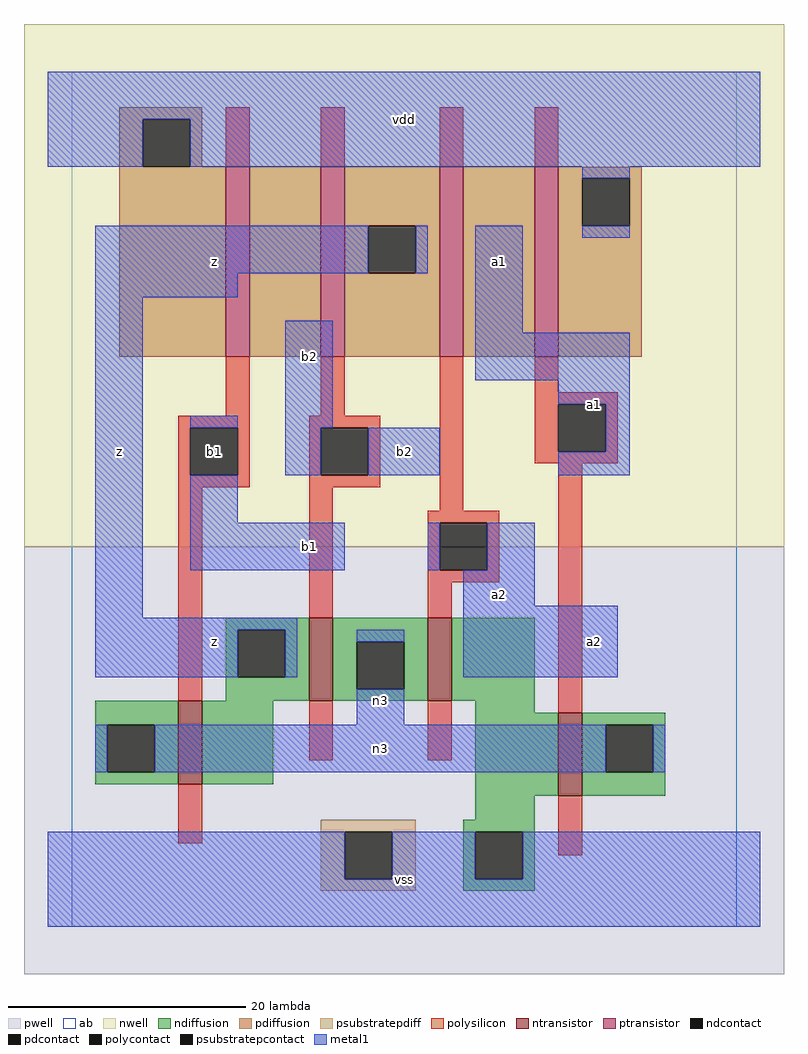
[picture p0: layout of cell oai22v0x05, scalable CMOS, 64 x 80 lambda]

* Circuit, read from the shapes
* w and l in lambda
.subckt oai22v0x05 a1 a2 b1 b2 n3 vdd vss z
M1 z b1 n3 vss nfet w=7 l=2
M2 n3 b2 z vss nfet w=7 l=2
M3 vss a2 n3 vss nfet w=7 l=2
M4 n3 a1 vss vss nfet w=7 l=2
M5 n1 b1 vdd n2 pfet w=16 l=2
M6 z b2 n1 n2 pfet w=16 l=2
M7 n4 a2 z n2 pfet w=16 l=2
M8 vdd a1 n4 n2 pfet w=16 l=2
.ends

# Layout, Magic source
magic
tech scmos
<< ab >>
rect 0 0 56 72
<< pwell >>
rect -4 -4 60 32
<< nwell >>
rect -4 32 60 76
<< polysilicon >>
rect 13 64 15 69
rect 21 64 23 69
rect 31 64 33 69
rect 39 64 41 69
rect 13 43 15 48
rect 21 43 23 48
rect 9 42 15 43
rect 9 38 10 42
rect 14 38 15 42
rect 9 37 15 38
rect 20 42 26 43
rect 20 38 21 42
rect 25 38 26 42
rect 20 37 26 38
rect 9 19 11 37
rect 20 26 22 37
rect 31 35 33 48
rect 39 45 41 48
rect 39 44 46 45
rect 39 40 41 44
rect 45 40 46 44
rect 39 39 46 40
rect 30 34 36 35
rect 30 30 31 34
rect 35 30 36 34
rect 30 29 36 30
rect 30 26 32 29
rect 20 14 22 19
rect 30 14 32 19
rect 41 18 43 39
rect 9 7 11 12
rect 41 6 43 11
<< ndiffusion >>
rect 13 25 20 26
rect 13 21 14 25
rect 18 21 20 25
rect 13 19 20 21
rect 22 24 30 26
rect 22 20 24 24
rect 28 20 30 24
rect 22 19 30 20
rect 32 19 39 26
rect 2 17 9 19
rect 2 13 3 17
rect 7 13 9 17
rect 2 12 9 13
rect 11 12 17 19
rect 34 18 39 19
rect 34 11 41 18
rect 43 17 50 18
rect 43 13 45 17
rect 49 13 50 17
rect 43 11 50 13
rect 34 9 39 11
rect 33 8 39 9
rect 33 4 34 8
rect 38 4 39 8
rect 33 3 39 4
<< pdiffusion >>
rect 4 68 11 69
rect 4 64 6 68
rect 10 64 11 68
rect 4 48 13 64
rect 15 48 21 64
rect 23 59 31 64
rect 23 55 25 59
rect 29 55 31 59
rect 23 48 31 55
rect 33 48 39 64
rect 41 63 48 64
rect 41 59 43 63
rect 47 59 48 63
rect 41 48 48 59
<< metal1 >>
rect -2 68 58 72
rect -2 64 6 68
rect 10 64 58 68
rect 43 63 47 64
rect 2 55 25 59
rect 29 55 30 59
rect 2 53 14 55
rect 2 26 6 53
rect 10 42 14 43
rect 18 42 22 51
rect 34 50 38 59
rect 43 58 47 59
rect 34 46 47 50
rect 41 44 47 46
rect 18 38 21 42
rect 25 38 31 42
rect 45 40 47 44
rect 41 38 47 40
rect 10 34 14 38
rect 10 30 23 34
rect 30 30 31 34
rect 35 30 39 34
rect 33 27 39 30
rect 2 25 19 26
rect 2 21 14 25
rect 18 21 19 25
rect 24 24 28 25
rect 33 21 46 27
rect 24 17 28 20
rect 2 13 3 17
rect 7 13 45 17
rect 49 13 50 17
rect -2 4 23 8
rect 27 4 34 8
rect 38 4 58 8
rect -2 0 58 4
<< ntransistor >>
rect 20 19 22 26
rect 30 19 32 26
rect 9 12 11 19
rect 41 11 43 18
<< ptransistor >>
rect 13 48 15 64
rect 21 48 23 64
rect 31 48 33 64
rect 39 48 41 64
<< polycontact >>
rect 10 38 14 42
rect 21 38 25 42
rect 41 40 45 44
rect 31 30 35 34
<< ndcontact >>
rect 14 21 18 25
rect 24 20 28 24
rect 3 13 7 17
rect 45 13 49 17
rect 34 4 38 8
<< pdcontact >>
rect 6 64 10 68
rect 25 55 29 59
rect 43 59 47 63
<< psubstratepcontact >>
rect 23 4 27 8
<< psubstratepdiff >>
rect 21 8 29 9
rect 21 4 23 8
rect 27 4 29 8
rect 21 3 29 4
<< labels >>
rlabel metal1 4 40 4 40 6 z
rlabel metal1 12 24 12 24 6 z
rlabel metal1 20 32 20 32 6 b1
rlabel polycontact 12 40 12 40 6 b1
rlabel metal1 20 48 20 48 6 b2
rlabel metal1 12 56 12 56 6 z
rlabel metal1 28 4 28 4 6 vss
rlabel metal1 26 19 26 19 6 n3
rlabel metal1 36 28 36 28 6 a2
rlabel metal1 28 40 28 40 6 b2
rlabel metal1 36 56 36 56 6 a1
rlabel metal1 28 68 28 68 6 vdd
rlabel metal1 26 15 26 15 6 n3
rlabel metal1 44 24 44 24 6 a2
rlabel metal1 44 44 44 44 6 a1
<< end >>
